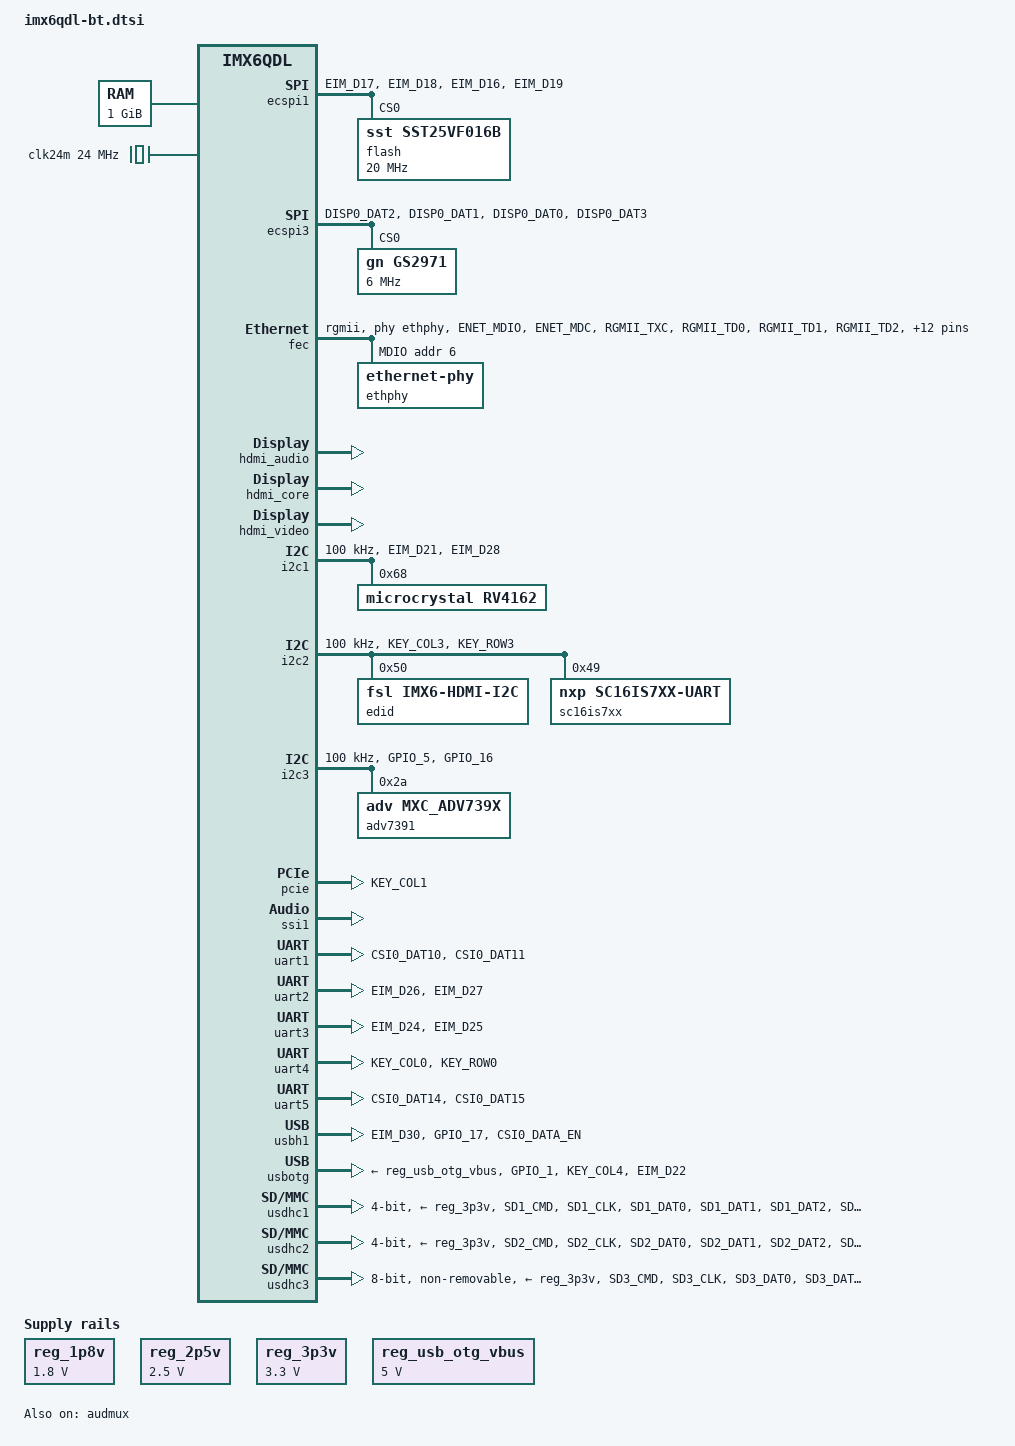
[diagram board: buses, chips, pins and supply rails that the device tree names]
/*
 * Copyright 2014 Boundary Devices
 * Copyright 2012 Freescale Semiconductor, Inc.
 * Copyright 2011 Linaro Ltd.
 *
 * The code contained herein is licensed under the GNU General Public
 * License. You may obtain a copy of the GNU General Public License
 * Version 2 or later at the following locations:
 *
 * http://www.opensource.org/licenses/gpl-license.html
 * http://www.gnu.org/copyleft/gpl.html
 */
#include <dt-bindings/gpio/gpio.h>
#include <dt-bindings/input/input.h>

&iomuxc {
	pinctrl-names = "default";
	pinctrl-0 = <&pinctrl_hog>;

	iomuxc_imx6q_bt: iomuxc-imx6q-btgrp {
		status = "okay";
	};
};

&iomuxc_imx6q_bt {
	pinctrl_hog: hoggrp {
		fsl,pins = <
#define GP_BT_GPIO1	<&gpio2 15 GPIO_ACTIVE_LOW>
			MX6QDL_PAD_SD4_DAT7__GPIO2_IO15		0x1b0b0		/* BGPIO1 */
#define GP_BT_GPIO2	<&gpio2 14 GPIO_ACTIVE_LOW>
			MX6QDL_PAD_SD4_DAT6__GPIO2_IO14		0x1b0b0		/* BGPIO2 */
#define GP_BT_GPIO3	<&gpio2 13 GPIO_ACTIVE_LOW>
			MX6QDL_PAD_SD4_DAT5__GPIO2_IO13		0x1b0b0		/* BGPIO3 */
#define GP_BT_GPIO4	<&gpio2 12 GPIO_ACTIVE_LOW>
			MX6QDL_PAD_SD4_DAT4__GPIO2_IO12		0x1b0b0		/* BGPIO4 */
#define GP_BT_GPIO5	<&gpio2 11 GPIO_ACTIVE_LOW>
			MX6QDL_PAD_SD4_DAT3__GPIO2_IO11		0x1b0b0		/* BGPIO5 */
#define GP_BT_GPIO6	<&gpio2 10 GPIO_ACTIVE_LOW>
			MX6QDL_PAD_SD4_DAT2__GPIO2_IO10		0x1b0b0		/* BGPIO6 */
#define GP_BT_GPIO7	<&gpio2 9 GPIO_ACTIVE_LOW>
			MX6QDL_PAD_SD4_DAT1__GPIO2_IO09		0x1b0b0		/* BGPIO7 */
#define GP_BT_GPIO8	<&gpio2 8 GPIO_ACTIVE_LOW>
			MX6QDL_PAD_SD4_DAT0__GPIO2_IO08		0x1b0b0		/* BGPIO8 */
#define GP_BT_GPIO9	<&gpio7 9 GPIO_ACTIVE_LOW>
			MX6QDL_PAD_SD4_CMD__GPIO7_IO09		0x1b0b0		/* BGPIO9 */
#define GP_BT_GPIO10	<&gpio7 10 GPIO_ACTIVE_LOW>
			MX6QDL_PAD_SD4_CLK__GPIO7_IO10		0x1b0b0		/* BGPIO10 */
#define GP_BT_GPIO11	<&gpio2 7 GPIO_ACTIVE_LOW>
			MX6QDL_PAD_NANDF_D7__GPIO2_IO07         0x1b0b0		/* BGPIO11 */
#define GP_BT_GPIO12	<&gpio2 6 GPIO_ACTIVE_LOW>
			MX6QDL_PAD_NANDF_D6__GPIO2_IO06         0x1b0b0		/* BGPIO12 */
#define GP_BT_GPIO13	<&gpio2 5 GPIO_ACTIVE_LOW>
			MX6QDL_PAD_NANDF_D5__GPIO2_IO05         0x1b0b0		/* BGPIO13 */
#define GP_BT_GPIO14	<&gpio2 4 GPIO_ACTIVE_LOW>
			MX6QDL_PAD_NANDF_D4__GPIO2_IO04         0x1b0b0		/* BGPIO14 */
#define GP_BT_GPIO15	<&gpio2 3 GPIO_ACTIVE_LOW>
			MX6QDL_PAD_NANDF_D3__GPIO2_IO03         0x1b0b0		/* BGPIO15 */
#define GP_BT_GPIO16	<&gpio2 2 GPIO_ACTIVE_LOW>
			MX6QDL_PAD_NANDF_D2__GPIO2_IO02         0x1b0b0		/* BGPIO16 */
#define GP_BT_GPIO17	<&gpio2 1 GPIO_ACTIVE_LOW>
			MX6QDL_PAD_NANDF_D1__GPIO2_IO01         0x1b0b0		/* BGPIO17 */
#define GP_BT_GPIO18	<&gpio2 0 GPIO_ACTIVE_LOW>
			MX6QDL_PAD_NANDF_D0__GPIO2_IO00         0x1b0b0		/* BGPIO18 */
#define GP_BT_GPIO19	<&gpio6 10 GPIO_ACTIVE_LOW>
			MX6QDL_PAD_NANDF_RB0__GPIO6_IO10	0x1b0b0		/* BGPIO19 */
#define GP_BT_GPIO20	<&gpio6 9 GPIO_ACTIVE_LOW>
			MX6QDL_PAD_NANDF_WP_B__GPIO6_IO09	0x1b0b0		/* BGPIO20 */
#define GP_BT_GPIO21	<&gpio6 7 GPIO_ACTIVE_LOW>
			MX6QDL_PAD_NANDF_CLE__GPIO6_IO07	0x1b0b0		/* BGPIO21 */
#define GP_BT_GPIO22	<&gpio6 8 GPIO_ACTIVE_LOW>
			MX6QDL_PAD_NANDF_ALE__GPIO6_IO08	0x1b0b0		/* BGPIO22 */
#define GP_BT_GPIO23	<&gpio6 16 GPIO_ACTIVE_LOW>
			MX6QDL_PAD_NANDF_CS3__GPIO6_IO16	0x1b0b0		/* BGPIO23 */
#define GP_BT_GPIO24	<&gpio6 15 GPIO_ACTIVE_LOW>
			MX6QDL_PAD_NANDF_CS2__GPIO6_IO15	0x1b0b0		/* BGPIO24 */
#define GP_BT_GPIO25	<&gpio6 14 GPIO_ACTIVE_LOW>
			MX6QDL_PAD_NANDF_CS1__GPIO6_IO14	0x1b0b0		/* BGPIO25 */
#define GP_BT_GPIO26	<&gpio6 11 GPIO_ACTIVE_LOW>
			MX6QDL_PAD_NANDF_CS0__GPIO6_IO11	0x1b0b0		/* BGPIO26 */
#define GP_BT_GPIO27	<&gpio5 30 GPIO_ACTIVE_LOW>
			MX6QDL_PAD_CSI0_DAT12__GPIO5_IO30	0x1b0b0		/* BGPIO27 */
#define GP_BT_GPIO28	<&gpio5 31 GPIO_ACTIVE_LOW>
			MX6QDL_PAD_CSI0_DAT13__GPIO5_IO31	0x1b0b0		/* BGPIO28 */
#define GP_BT_GPIO29	<&gpio5 24 GPIO_ACTIVE_LOW>
			MX6QDL_PAD_CSI0_DAT6__GPIO5_IO24	0x1b0b0		/* BGPIO29 */
#define GP_BT_GPIO30	<&gpio5 25 GPIO_ACTIVE_LOW>
			MX6QDL_PAD_CSI0_DAT7__GPIO5_IO25	0x1b0b0		/* BGPIO30 */
#define GP_BT_GPIO31	<&gpio6 2 GPIO_ACTIVE_LOW>
			MX6QDL_PAD_CSI0_DAT16__GPIO6_IO02	0x1b0b0		/* BGPIO31 */
#define GP_BT_GPIO32	<&gpio6 3 GPIO_ACTIVE_LOW>
			MX6QDL_PAD_CSI0_DAT17__GPIO6_IO03	0x1b0b0		/* BGPIO32 */
#define GP_BT_GPIO33	<&gpio6 4 GPIO_ACTIVE_LOW>
			MX6QDL_PAD_CSI0_DAT18__GPIO6_IO04	0x1b0b0		/* BGPIO33 */
#define GP_BT_GPIO34	<&gpio6 5 GPIO_ACTIVE_LOW>
			MX6QDL_PAD_CSI0_DAT19__GPIO6_IO05	0x1b0b0		/* BGPIO34 */
#define GP_BT_GPIO35	<&gpio5 2 GPIO_ACTIVE_LOW>
			MX6QDL_PAD_EIM_A25__GPIO5_IO02		0x1b0b0		/* BGPIO35 */
#define GP_BT_GPIO36	<&gpio3 29 GPIO_ACTIVE_LOW>
			MX6QDL_PAD_EIM_D29__GPIO3_IO29		0x1b0b0		/* BGPIO36 */
#define GP_BT_GPIO37	<&gpio2 30 GPIO_ACTIVE_LOW>
			MX6QDL_PAD_EIM_EB2__GPIO2_IO30		0x1b0b0		/* BGPIO37 */
#define GP_BT_GPIO38	<&gpio2 31 GPIO_ACTIVE_LOW>
			MX6QDL_PAD_EIM_EB3__GPIO2_IO31		0x1b0b0		/* BGPIO38 */
#define GP_BT_GPIO39	<&gpio5 26 GPIO_ACTIVE_LOW>
			MX6QDL_PAD_CSI0_DAT8__GPIO5_IO26	0x1b0b0		/* BGPIO39 */
#define GP_BT_GPIO40	<&gpio5 27 GPIO_ACTIVE_LOW>
			MX6QDL_PAD_CSI0_DAT9__GPIO5_IO27	0x1b0b0		/* BGPIO40 */

#define GP_PWR_J1	<&gpio5 9 GPIO_ACTIVE_LOW>
			MX6QDL_PAD_DISP0_DAT15__GPIO5_IO09	0x4000b0b0	/* J1 Power enable */
#define GP_PWR_J2	<&gpio4 25 GPIO_ACTIVE_LOW>
			MX6QDL_PAD_DISP0_DAT4__GPIO4_IO25	0x4000b0b0	/* J2 */
#define GP_PWR_J3	<&gpio2 23 GPIO_ACTIVE_LOW>
			MX6QDL_PAD_EIM_CS0__GPIO2_IO23		0x4000b0b0	/* J3 */
#define GP_PWR_J4	<&gpio2 25 GPIO_ACTIVE_LOW>
			MX6QDL_PAD_EIM_OE__GPIO2_IO25		0x4000b0b0	/* J4 */
#define GP_PWR_J6	<&gpio2 26 GPIO_ACTIVE_LOW>
			MX6QDL_PAD_EIM_RW__GPIO2_IO26		0x4000b0b0	/* J6 */
#define GP_PWR_J7	<&gpio2 27 GPIO_ACTIVE_LOW>
			MX6QDL_PAD_EIM_LBA__GPIO2_IO27		0x4000b0b0	/* J7 */

			/* J92 pins */
#define GP_J92_PIN7	<&gpio3 31 GPIO_ACTIVE_LOW>
			MX6QDL_PAD_EIM_D31__GPIO3_IO31		0x0b0b0		/* OUT_1 - Dry contact to J92 pin 7 */
#define GP_J92_PIN9	<&gpio1 8 GPIO_ACTIVE_LOW>
			MX6QDL_PAD_GPIO_8__GPIO1_IO08		0x030b0		/* OUT_2 - Dry contact to J92 pin 9 */
#define GP_J92_PIN10	<&gpio5 22 GPIO_ACTIVE_LOW>
			MX6QDL_PAD_CSI0_DAT4__GPIO5_IO22	0x0b0b0		/* GPI_1 - J92 - pin 10 */
#define GP_J92_PIN12	<&gpio5 23 GPIO_ACTIVE_LOW>
			MX6QDL_PAD_CSI0_DAT5__GPIO5_IO23	0x0b0b0		/* GPI_2 - J92 - pin 12 */
		>;
	};

	pinctrl_adv7391: adv7391grp-1 {
		fsl,pins = <
			MX6QDL_PAD_DI0_DISP_CLK__IPU1_DI0_DISP_CLK 0x10		/* Pixclk */
			MX6QDL_PAD_DISP0_DAT16__IPU1_DISP0_DATA16  0x10
			MX6QDL_PAD_DISP0_DAT17__IPU1_DISP0_DATA17  0x10
			MX6QDL_PAD_DISP0_DAT18__IPU1_DISP0_DATA18  0x10
			MX6QDL_PAD_DISP0_DAT19__IPU1_DISP0_DATA19  0x10
			MX6QDL_PAD_DISP0_DAT20__IPU1_DISP0_DATA20  0x10
			MX6QDL_PAD_DISP0_DAT21__IPU1_DISP0_DATA21  0x10
			MX6QDL_PAD_DISP0_DAT22__IPU1_DISP0_DATA22  0x10
			MX6QDL_PAD_DISP0_DAT23__IPU1_DISP0_DATA23  0x10
		>;
	};

	pinctrl_adv7391_off: adv7391grp-2 {
		fsl,pins = <
			MX6QDL_PAD_DI0_DISP_CLK__GPIO4_IO16	0x0b0b0		/* Pixclk */
			MX6QDL_PAD_DI0_PIN2__GPIO4_IO18		0x0b0b0		/* HSYNC */
			MX6QDL_PAD_DI0_PIN3__GPIO4_IO19		0x0b0b0		/* VSYNC */
			MX6QDL_PAD_DISP0_DAT16__GPIO5_IO10	0x0b0b0
			MX6QDL_PAD_DISP0_DAT17__GPIO5_IO11	0x0b0b0
			MX6QDL_PAD_DISP0_DAT18__GPIO5_IO12	0x0b0b0
			MX6QDL_PAD_DISP0_DAT19__GPIO5_IO13	0x0b0b0
			MX6QDL_PAD_DISP0_DAT20__GPIO5_IO14	0x0b0b0
			MX6QDL_PAD_DISP0_DAT21__GPIO5_IO15	0x0b0b0
			MX6QDL_PAD_DISP0_DAT22__GPIO5_IO16	0x0b0b0
			MX6QDL_PAD_DISP0_DAT23__GPIO5_IO17	0x0b0b0
#define GP_ADV7391_RESET	<&gpio4 20 GPIO_ACTIVE_LOW>
			MX6QDL_PAD_DI0_PIN4__GPIO4_IO20		0x000b0		/* reset */
		>;
	};
	pinctrl_audmux: audmuxgrp {
		fsl,pins = <
			/* Audio - GS2971 */
			MX6QDL_PAD_KEY_ROW1__AUD5_RXD		0x1b070
			MX6QDL_PAD_DISP0_DAT14__AUD5_RXC	0x1b070
			MX6QDL_PAD_DISP0_DAT13__AUD5_RXFS	0x1b070
		>;
	};

	pinctrl_ecspi1: ecspi1grp {
		fsl,pins = <
			MX6QDL_PAD_EIM_D17__ECSPI1_MISO		0x100b1
			MX6QDL_PAD_EIM_D18__ECSPI1_MOSI		0x100b1
			MX6QDL_PAD_EIM_D16__ECSPI1_SCLK		0x100b1
#define GP_ECSPI1_NOR_CS	<&gpio3 19 GPIO_ACTIVE_LOW>
			MX6QDL_PAD_EIM_D19__GPIO3_IO19		0x0b0b0
		>;
	};

	pinctrl_ecspi3: ecspi3grp {
		fsl,pins = <
			MX6QDL_PAD_DISP0_DAT2__ECSPI3_MISO	0x100b1
			MX6QDL_PAD_DISP0_DAT1__ECSPI3_MOSI	0x100b1
			MX6QDL_PAD_DISP0_DAT0__ECSPI3_SCLK	0x100b1
#define GP_ECSPI3_GS2971_CS	<&gpio4 24 GPIO_ACTIVE_LOW>
			MX6QDL_PAD_DISP0_DAT3__GPIO4_IO24	0x0b0b0		/* GS2971 */
		>;
	};

	pinctrl_enet: enetgrp {
		fsl,pins = <
			MX6QDL_PAD_ENET_MDIO__ENET_MDIO		0x1b0b0
			MX6QDL_PAD_ENET_MDC__ENET_MDC		0x1b0b0
			MX6QDL_PAD_RGMII_TXC__RGMII_TXC		0x100b0
			MX6QDL_PAD_RGMII_TD0__RGMII_TD0		0x100b0
			MX6QDL_PAD_RGMII_TD1__RGMII_TD1		0x100b0
			MX6QDL_PAD_RGMII_TD2__RGMII_TD2		0x100b0
			MX6QDL_PAD_RGMII_TD3__RGMII_TD3		0x100b0
			MX6QDL_PAD_RGMII_TX_CTL__RGMII_TX_CTL	0x100b0
			MX6QDL_PAD_ENET_REF_CLK__ENET_TX_CLK	0x100b0
			MX6QDL_PAD_RGMII_RXC__RGMII_RXC		0x1b0b0
			MX6QDL_PAD_RGMII_RD0__RGMII_RD0		0x1b0b0
			MX6QDL_PAD_RGMII_RD1__RGMII_RD1		0x1b0b0
			MX6QDL_PAD_RGMII_RD2__RGMII_RD2		0x1b0b0
			MX6QDL_PAD_RGMII_RD3__RGMII_RD3		0x1b0b0
			MX6QDL_PAD_RGMII_RX_CTL__RGMII_RX_CTL	0x1b0b0
#define GP_ENET_PHY_RESET	<&gpio1 27 GPIO_ACTIVE_LOW>
			MX6QDL_PAD_ENET_RXD0__GPIO1_IO27	0x030b0
#define GPIRQ_ENET_PHY	<&gpio1 28 IRQ_TYPE_LEVEL_LOW>
			MX6QDL_PAD_ENET_TX_EN__GPIO1_IO28	0x1b0b0
#define GPIRQ_ENET		<&gpio1 6 IRQ_TYPE_LEVEL_HIGH>
			MX6QDL_PAD_GPIO_6__ENET_IRQ		0x000b1
		>;
	};

	pinctrl_gs2971: gs2971grp {
		/* parallel camera on CSI1, pins differ for iMX6Q/iMX6DL */
	};

	pinctrl_gs2971_cea861: gs2971_cea861grp {
		/* parallel camera on CSI1, pins differ for iMX6Q/iMX6DL */
	};

	pinctrl_gs2971_no_cea861: gs2971_no_cea861grp { /* parallel camera */
		/* sav/eav codes are used, not hsync/vsync */
		fsl,pins = <
			MX6QDL_PAD_EIM_DA11__GPIO3_IO11		0xb0b0	/* HSYNC */
			MX6QDL_PAD_EIM_DA12__GPIO3_IO12		0xb0b0	/* VSYNC */
		>;
	};

	pinctrl_gs2971_gpios: gs2971_gpiosgrp {
		fsl,pins = <
#define GPIO_INPUT 2
#define GP_GS2971_STANDBY	<&gpio5 0 GPIO_ACTIVE_HIGH>
			MX6QDL_PAD_EIM_WAIT__GPIO5_IO00		0x000b0		/* 1 - pin K2 - Standby */
#define GP_GS2971_RESET		<&gpio3 13 GPIO_ACTIVE_LOW>
			MX6QDL_PAD_EIM_DA13__GPIO3_IO13		0x000b0		/* 0 - pin C7 - reset */
#define GP_GS2971_RC_BYPASS	<&gpio4 27 GPIO_ACTIVE_HIGH>
			MX6QDL_PAD_DISP0_DAT6__GPIO4_IO27	0x000b0		/* 0 - pin G3 - RC bypass - output is buffered(low) */
#define GP_GS2971_IOPROC_EN	<&gpio4 28 GPIO_ACTIVE_HIGH>
			MX6QDL_PAD_DISP0_DAT7__GPIO4_IO28	0x000b0		/* 0 - pin H8 - io(A/V) processor enable */
#define GP_GS2971_AUDIO_EN	<&gpio4 29 GPIO_ACTIVE_HIGH>
			MX6QDL_PAD_DISP0_DAT8__GPIO4_IO29	0x000b0		/* 0 - pin H3 - Audio Enable */
#define GP_GS2971_TIM_861	<&gpio4 30 GPIO_ACTIVE_HIGH>
			MX6QDL_PAD_DISP0_DAT9__GPIO4_IO30	0x000b0		/* 0 - pin H5 - TIM861 timing format, 1-use HSYNC/VSYNC */
#define GP_GS2971_SW_EN		<&gpio4 31 GPIO_ACTIVE_HIGH>
			MX6QDL_PAD_DISP0_DAT10__GPIO4_IO31	0x000b0		/* 0 - pin D7 - SW_EN - line lock enable */
#define GP_GS2971_DVB_ASI	<&gpio5 5 GPIO_INPUT>
			MX6QDL_PAD_DISP0_DAT11__GPIO5_IO05	0x1b0b0		/* pin G8 i/o DVB_ASI */
#define GP_GS2971_SMPTE_BYPASS	<&gpio2 24 GPIO_INPUT>
			MX6QDL_PAD_EIM_CS1__GPIO2_IO24		0x1b0b0		/* pin G7 - i/o SMPTE bypass */
#define GP_GS2971_DVI_LOCK	<&gpio3 14 GPIO_INPUT>
			MX6QDL_PAD_EIM_DA14__GPIO3_IO14		0x1b0b0		/* pin B6 - stat3 - DVI_LOCK */
#define GP_GS2971_DATA_ERR	<&gpio3 15 GPIO_INPUT>
			MX6QDL_PAD_EIM_DA15__GPIO3_IO15		0x1b0b0		/* pin C6 - stat5 - DATA error */
#define GP_GS2971_LB_CONT	<&gpio3 20 GPIO_INPUT>
			MX6QDL_PAD_EIM_D20__GPIO3_IO20		0x1b0b0		/* pin A3 - LB control - float, analog input */
#define GP_GS2971_Y_1ANC	<&gpio4 26 GPIO_INPUT>
			MX6QDL_PAD_DISP0_DAT5__GPIO4_IO26	0x1b0b0		/* pin C5 - stat4 - 1ANC - Y signal detect */
		>;
	};

	pinctrl_i2c1: i2c1grp {
		fsl,pins = <
			MX6QDL_PAD_EIM_D21__I2C1_SCL	0x4001b8b1
			MX6QDL_PAD_EIM_D28__I2C1_SDA	0x4001b8b1
		>;
	};

	pinctrl_i2c1_1: i2c1_1grp {
		fsl,pins = <
#define GP_I2C1_SCL	<&gpio3 21 GPIO_ACTIVE_HIGH>
			MX6QDL_PAD_EIM_D21__GPIO3_IO21	0x4001b8b1
#define GP_I2C1_SDA	<&gpio3 28 GPIO_ACTIVE_HIGH>
			MX6QDL_PAD_EIM_D28__GPIO3_IO28	0x4001b8b1
		>;
	};

	pinctrl_i2c2: i2c2grp {
		fsl,pins = <
			MX6QDL_PAD_KEY_COL3__I2C2_SCL	0x4001b8b1
			MX6QDL_PAD_KEY_ROW3__I2C2_SDA	0x4001b8b1
		>;
	};

	pinctrl_i2c2_1: i2c2_1grp {
		fsl,pins = <
#define GP_I2C2_SCL	<&gpio4 12 GPIO_ACTIVE_HIGH>
			MX6QDL_PAD_KEY_COL3__GPIO4_IO12	0x4001b8b1
#define GP_I2C2_SDA	<&gpio4 13 GPIO_ACTIVE_HIGH>
			MX6QDL_PAD_KEY_ROW3__GPIO4_IO13	0x4001b8b1
		>;
	};

	pinctrl_i2c3: i2c3grp {
		fsl,pins = <
			MX6QDL_PAD_GPIO_5__I2C3_SCL	0x4001b8b1
			MX6QDL_PAD_GPIO_16__I2C3_SDA	0x4001b8b1
		>;
	};

	pinctrl_i2c3_1: i2c3_1grp {
		fsl,pins = <
#define GP_I2C3_SCL	<&gpio1 5 GPIO_ACTIVE_HIGH>
			MX6QDL_PAD_GPIO_5__GPIO1_IO05		0x4001b8b1
#define GP_I2C3_SDA	<&gpio7 11 GPIO_ACTIVE_HIGH>
			MX6QDL_PAD_GPIO_16__GPIO7_IO11		0x4001b8b1
		>;
	};

	pinctrl_pcie: pciegrp {
		fsl,pins = <
#define GP_PCIE_RESET	<&gpio4 8 GPIO_ACTIVE_LOW>
			MX6QDL_PAD_KEY_COL1__GPIO4_IO08		0x000b0		/* pcie reset */
		>;
	};

	pinctrl_rv4162: rv4162grp {
		fsl,pins = <
#define GPIRQ_RTC_RV4162	 <&gpio4 11 IRQ_TYPE_LEVEL_LOW>
			MX6QDL_PAD_KEY_ROW2__GPIO4_IO11		0x1b0b0
		>;
	};

	pinctrl_sc16is7xx: sc16is7xxgrp {
		fsl,pins = <
#define GPIRQ_SC16IS752	<&gpio4 10 IRQ_TYPE_LEVEL_LOW>
			MX6QDL_PAD_KEY_COL2__GPIO4_IO10		0x1b0b0
		>;
	};

	pinctrl_uart1: uart1grp { /* UART1 - J2 - PTT connector */
		fsl,pins = <
			MX6QDL_PAD_CSI0_DAT10__UART1_TX_DATA	0x1b0b1
			MX6QDL_PAD_CSI0_DAT11__UART1_RX_DATA	0x1b0b1
		>;
	};

	pinctrl_uart2: uart2grp { /* UART2 - debug console */
		fsl,pins = <
			MX6QDL_PAD_EIM_D26__UART2_TX_DATA	0x1b0b1
			MX6QDL_PAD_EIM_D27__UART2_RX_DATA	0x1b0b1
		>;
	};

	pinctrl_uart3: uart3grp { /* UART3 */
		fsl,pins = <
			MX6QDL_PAD_EIM_D24__UART3_TX_DATA	0x1b0b1
			MX6QDL_PAD_EIM_D25__UART3_RX_DATA	0x1b0b1
		>;
	};

	pinctrl_uart4: uart4grp { /* UART4 */
		fsl,pins = <
			MX6QDL_PAD_KEY_COL0__UART4_TX_DATA	0x1b0b1
			MX6QDL_PAD_KEY_ROW0__UART4_RX_DATA	0x1b0b1
		>;
	};

	pinctrl_uart5: uart5grp { /* UART5 - J6 data connector */
		fsl,pins = <
			MX6QDL_PAD_CSI0_DAT14__UART5_TX_DATA	0x1b0b1
			MX6QDL_PAD_CSI0_DAT15__UART5_RX_DATA	0x1b0b1
		>;
	};


	pinctrl_usbh1: usbh1grp {
		fsl,pins = <
			MX6QDL_PAD_EIM_D30__USB_H1_OC	0x1b0b0
#define GP_USB_HUB_RESET	<&gpio7 12 GPIO_ACTIVE_LOW>
			MX6QDL_PAD_GPIO_17__GPIO7_IO12	0x0b0b0	/* USB Hub Reset for USB2512 4 port hub */
#define GP_AX88772A_RESET	<&gpio5 20 GPIO_ACTIVE_LOW>
			MX6QDL_PAD_CSI0_DATA_EN__GPIO5_IO20	0x0b0b0
		>;
	};

	pinctrl_usbotg: usbotggrp {
		fsl,pins = <
			MX6QDL_PAD_GPIO_1__USB_OTG_ID	0x17059
			MX6QDL_PAD_KEY_COL4__USB_OTG_OC	0x1b0b0
#define GP_USB_OTG_PWR		<&gpio3 22 0>
			MX6QDL_PAD_EIM_D22__GPIO3_IO22		0x0b0b0	/* otg power en */
		>;
	};

	/* full size SD card */
	pinctrl_usdhc1_50mhz: usdhc1grp-1 {
		fsl,pins = <
			MX6QDL_PAD_SD1_CMD__SD1_CMD		0x17059
			MX6QDL_PAD_SD1_CLK__SD1_CLK		0x10059
			MX6QDL_PAD_SD1_DAT0__SD1_DATA0		0x17059
			MX6QDL_PAD_SD1_DAT1__SD1_DATA1		0x17059
			MX6QDL_PAD_SD1_DAT2__SD1_DATA2		0x17059
			MX6QDL_PAD_SD1_DAT3__SD1_DATA3		0x17059
#define GP_USDHC1_CD		<&gpio1 4 GPIO_ACTIVE_LOW>
			MX6QDL_PAD_GPIO_4__GPIO1_IO04		0x1b0b0
#define GP_USDHC1_WP		<&gpio1 2 GPIO_ACTIVE_HIGH>
			MX6QDL_PAD_GPIO_2__GPIO1_IO02		0x1b0b0
#define GP_USDHC1_1P8V_SEL		<&gpio7 13 GPIO_ACTIVE_LOW>		/* low 1.8V, high 3.3V */
			MX6QDL_PAD_GPIO_18__GPIO7_IO13          0x1b0b0
		>;
	};
	pinctrl_usdhc1_100mhz: usdhc1grp-2 {
		fsl,pins = <
			MX6QDL_PAD_SD1_CMD__SD1_CMD		0x170b9
			MX6QDL_PAD_SD1_CLK__SD1_CLK		0x100b9
			MX6QDL_PAD_SD1_DAT0__SD1_DATA0		0x170b9
			MX6QDL_PAD_SD1_DAT1__SD1_DATA1		0x170b9
			MX6QDL_PAD_SD1_DAT2__SD1_DATA2		0x170b9
			MX6QDL_PAD_SD1_DAT3__SD1_DATA3		0x170b9
		>;
	};
	pinctrl_usdhc1_200mhz: usdhc1grp-3 {
		fsl,pins = <
			MX6QDL_PAD_SD1_CMD__SD1_CMD		0x170f9
			MX6QDL_PAD_SD1_CLK__SD1_CLK		0x100f9
			MX6QDL_PAD_SD1_DAT0__SD1_DATA0		0x170f9
			MX6QDL_PAD_SD1_DAT1__SD1_DATA1		0x170f9
			MX6QDL_PAD_SD1_DAT2__SD1_DATA2		0x170f9
			MX6QDL_PAD_SD1_DAT3__SD1_DATA3		0x170f9
		>;
	};

	/* micro SD card */
	pinctrl_usdhc2_50mhz: usdhc2grp-1 {
		fsl,pins = <
			MX6QDL_PAD_SD2_CMD__SD2_CMD		0x17059
			MX6QDL_PAD_SD2_CLK__SD2_CLK		0x10059
			MX6QDL_PAD_SD2_DAT0__SD2_DATA0		0x17059
			MX6QDL_PAD_SD2_DAT1__SD2_DATA1		0x17059
			MX6QDL_PAD_SD2_DAT2__SD2_DATA2		0x17059
			MX6QDL_PAD_SD2_DAT3__SD2_DATA3		0x17059
#define GP_USDHC2_CD		<&gpio3 23 GPIO_ACTIVE_LOW>
			MX6QDL_PAD_EIM_D23__GPIO3_IO23		0x1b0b0
		>;
	};

	/* eMMC */
	pinctrl_usdhc3_50mhz: usdhc3grp-1 {
		fsl,pins = <
			MX6QDL_PAD_SD3_CMD__SD3_CMD		0x17059
			MX6QDL_PAD_SD3_CLK__SD3_CLK		0x10059
			MX6QDL_PAD_SD3_DAT0__SD3_DATA0		0x17059
			MX6QDL_PAD_SD3_DAT1__SD3_DATA1		0x17059
			MX6QDL_PAD_SD3_DAT2__SD3_DATA2		0x17059
			MX6QDL_PAD_SD3_DAT3__SD3_DATA3		0x17059
			MX6QDL_PAD_SD3_DAT4__SD3_DATA4		0x17059
			MX6QDL_PAD_SD3_DAT5__SD3_DATA5		0x17059
			MX6QDL_PAD_SD3_DAT6__SD3_DATA6		0x17059
			MX6QDL_PAD_SD3_DAT7__SD3_DATA7		0x17059
#define GP_EMMC_RESET	<&gpio7 8 GPIO_ACTIVE_LOW>
			MX6QDL_PAD_SD3_RST__GPIO7_IO08		0x0b0b0
		>;
	};

};

/ {
	aliases {
		fb_hdmi = &fb_hdmi;
		fb_lcd = &fb_lcd;
		mxcfb0 = &fb_hdmi;
		mxcfb1 = &fb_lcd;
	};

	memory {
		reg = <0x10000000 0x40000000>;
	};

	clocks {
		clk24m: clk24m {
			compatible = "fixed-clock";
			#clock-cells = <0>;
			clock-frequency = <24000000>;
		};
	};

	regulators {
		compatible = "simple-bus";

		reg_1p8v: 1p8v {
			compatible = "regulator-fixed";
			regulator-name = "1P8V";
			regulator-min-microvolt = <1800000>;
			regulator-max-microvolt = <1800000>;
			regulator-always-on;
		};

		reg_2p5v: 2p5v {
			compatible = "regulator-fixed";
			regulator-name = "2P5V";
			regulator-min-microvolt = <2500000>;
			regulator-max-microvolt = <2500000>;
			regulator-always-on;
		};

		reg_3p3v: 3p3v {
			compatible = "regulator-fixed";
			regulator-name = "3P3V";
			regulator-min-microvolt = <3300000>;
			regulator-max-microvolt = <3300000>;
			regulator-always-on;
		};

		reg_usb_otg_vbus: usb_otg_vbus {
			compatible = "regulator-fixed";
			regulator-name = "usb_otg_vbus";
			regulator-min-microvolt = <5000000>;
			regulator-max-microvolt = <5000000>;
			gpio = GP_USB_OTG_PWR;
			enable-active-high;
		};

	};

	reserved-memory {
		linux,cma {
			size = <0x18000000>;
		};
	};

	sound-hdmi {
		compatible = "fsl,imx6q-audio-hdmi",
			     "fsl,imx-audio-hdmi";
		model = "imx-audio-hdmi";
		hdmi-controller = <&hdmi_audio>;
	};

	fb_hdmi: fb@0 {
		compatible = "fsl,mxc_sdc_fb";
		disp_dev = "hdmi";
		interface_pix_fmt = "RGB24";
		mode_str ="1280x720M@60";
		default_bpp = <16>;
		int_clk = <0>;
		late_init = <0>;
		status = "okay";
	};

	fb_lcd: fb@1 {
		compatible = "fsl,mxc_sdc_fb";
		disp_dev = "adv739x";
		interface_pix_fmt = "BT656";
		mode_str ="BT656-NTSC";
		default_bpp = <16>;
		int_clk = <0>;
		late_init = <0>;
		status = "okay";
	};

	v4l2_cap_0: v4l2_cap_0 {
		/* gs2971 */
		compatible = "fsl,imx6q-v4l2-capture";
		csi_id = <1>;
		device_id = <8>;
		mclk_source = <0>;
		status = "okay";
	};

	v4l2_out {
		compatible = "fsl,mxc_v4l2_output";
		status = "okay";
	};
};


&audmux {
	pinctrl-names = "default";
	pinctrl-0 = <&pinctrl_audmux>;
	status = "okay";
};

&ecspi1 {
	fsl,spi-num-chipselects = <1>;
	cs-gpios = GP_ECSPI1_NOR_CS;
	pinctrl-names = "default";
	pinctrl-0 = <&pinctrl_ecspi1>;
	status = "okay";

	flash: m25p80@0 {
		compatible = "sst,sst25vf016b";
		spi-max-frequency = <20000000>;
		reg = <0>;
		#address-cells = <1>;
		#size-cells = <1>;
		mtd@00000000 {
			label = "U-Boot";
			reg = <0x0 0xC0000>;
		};

		mtd@000C0000 {
			label = "env";
			reg = <0xC0000 0x2000>;
		};
		mtd@000C2000 {
			label = "splash";
			reg = <0xC2000 0x13e000>;
		};
	};
};

&ecspi3 {
	fsl,spi-num-chipselects = <1>;
	cs-gpios = GP_ECSPI3_GS2971_CS;
	pinctrl-names = "default";
	pinctrl-0 = <&pinctrl_ecspi3>;
	status = "okay";

	gs2971: gs2971@0 {
		compatible = "gn,gs2971";
		reg = <0>;
		pinctrl-names = "default", "no_cea861", "cea861";
		pinctrl-0 = <&pinctrl_gs2971>, <&pinctrl_gs2971_gpios>;
		pinctrl-1 = <&pinctrl_gs2971_no_cea861>;
		pinctrl-2 = <&pinctrl_gs2971_cea861>;
		mclk = <27000000>;
		csi = <1>;
		cea861 = <0>;
		spi-max-frequency = <6000000>;
		standby-gpios = GP_GS2971_STANDBY;	/* 1 - powerdown */
		rst-gpios = GP_GS2971_RESET;		/* 0 - reset */
		tim_861-gpios = GP_GS2971_TIM_861;	/* 0 - TIM861 timing format sav/eav codes */
		/* enable on power up */
		ioproc_en-gpios = GP_GS2971_IOPROC_EN;	/* 0 - io(A/V) processor disabled */
		sw_en-gpios = GP_GS2971_SW_EN;		/* 0 - line lock disabled */
		rc_bypass-gpios = GP_GS2971_RC_BYPASS;	/* 0 -  RC bypass - output is buffered(low) */
		audio_en-gpios = GP_GS2971_AUDIO_EN;	/* 0 - audio disabled */
		dvb_asi-gpios = GP_GS2971_DVB_ASI;	/* 0 - dvs_asi disabled */
		smpte_bypass-gpios = GP_GS2971_SMPTE_BYPASS;	/* in */
		dvi_lock-gpios = GP_GS2971_DVI_LOCK;	/* in */
		data_err-gpios = GP_GS2971_DATA_ERR;	/* in */
		lb_cont-gpios = GP_GS2971_LB_CONT;	/* in */
		y_1anc-gpios = GP_GS2971_Y_1ANC;	/* in */
	};
};

&fec {
	interrupts-extended = GPIRQ_ENET,
			      <&gpc 0 119 IRQ_TYPE_LEVEL_HIGH>;
	phy-handle = <&ethphy>;
	phy-mode = "rgmii";
#if 0
	phy-reset-gpios = GP_ENET_PHY_RESET;
#endif
	pinctrl-names = "default";
	pinctrl-0 = <&pinctrl_enet>;
	status = "okay";

	mdio {
		#address-cells = <0>;
		#size-cells = <1>;

		ethphy: ethernet-phy@6 {
			reg = <6>;
			interrupts-extended = GPIRQ_ENET_PHY;
		};
	};
};

&hdmi_audio {
	status = "okay";
};

&hdmi_core {
	ipu_id = <1>;
	disp_id = <0>;
	status = "okay";
};

&hdmi_video {
	fsl,phy_reg_vlev = <0x0294>;
	fsl,phy_reg_cksymtx = <0x800d>;
	status = "okay";
};

&i2c1 {
	clock-frequency = <100000>;
	pinctrl-names = "default", "gpio";
	pinctrl-0 = <&pinctrl_i2c1>;
	pinctrl-1 = <&pinctrl_i2c1_1>;
	scl-gpios = GP_I2C1_SCL;
	sda-gpios = GP_I2C1_SDA;
	status = "okay";

	rv4162@68 {
		compatible = "microcrystal,rv4162";
		pinctrl-names = "default";
		pinctrl-0 = <&pinctrl_rv4162>;
		reg = <0x68>;
		interrupts-extended = GPIRQ_RTC_RV4162;
	};
};

&i2c2 {
	clock-frequency = <100000>;
	pinctrl-names = "default", "gpio";
	pinctrl-0 = <&pinctrl_i2c2>;
	pinctrl-1 = <&pinctrl_i2c2_1>;
	scl-gpios = GP_I2C2_SCL;
	sda-gpios = GP_I2C2_SDA;
	status = "okay";

	edid@50 {
		compatible = "fsl,imx6-hdmi-i2c";
		reg = <0x50>;
	};
	
	sc16is7xx@49 {
		compatible = "nxp,sc16is7xx-uart";
		pinctrl-names = "default";
		pinctrl-0 = <&pinctrl_sc16is7xx>;
		reg = <0x49>;
		interrupts-extended = GPIRQ_SC16IS752;
	};
};

&i2c3 {
	clock-frequency = <100000>;
	pinctrl-names = "default", "gpio";
	pinctrl-0 = <&pinctrl_i2c3>;
	pinctrl-1 = <&pinctrl_i2c3_1>;
	scl-gpios = GP_I2C3_SCL;
	sda-gpios = GP_I2C3_SDA;
	status = "okay";

	adv7391: adv7391@2a {
		compatible = "adv,mxc_adv739x";
		reg = <0x2a>;
		pinctrl-names = "default", "enable";
		pinctrl-0 = <&pinctrl_adv7391_off>;
		pinctrl-1 = <&pinctrl_adv7391>;
		rst-gpios = GP_ADV7391_RESET;
		ipu_id = <0>;
		disp_id = <0>;
        };
};

&pcie {
	pinctrl-names = "default";
	pinctrl-0 = <&pinctrl_pcie>;
	reset-gpios = GP_PCIE_RESET;
	status = "okay";
};

&ssi1 {
	fsl,mode = "i2s-slave";
	status = "okay";
};

&uart1 {
	pinctrl-names = "default";
	pinctrl-0 = <&pinctrl_uart1>;
	status = "okay";
};

&uart2 {
	pinctrl-names = "default";
	pinctrl-0 = <&pinctrl_uart2>;
	status = "okay";
};

&uart3 {
	pinctrl-names = "default";
	pinctrl-0 = <&pinctrl_uart3>;
	status = "okay";
};

&uart4 {
	pinctrl-names = "default";
	pinctrl-0 = <&pinctrl_uart4>;
	status = "okay";
};

&uart5 {
	pinctrl-names = "default";
	pinctrl-0 = <&pinctrl_uart5>;
	status = "okay";
};

&usbh1 {
	pinctrl-names = "default";
	pinctrl-0 = <&pinctrl_usbh1>;
	reset-gpios = GP_USB_HUB_RESET, GP_AX88772A_RESET;
	status = "okay";
};

&usbotg {
	vbus-supply = <&reg_usb_otg_vbus>;
	pinctrl-names = "default";
	pinctrl-0 = <&pinctrl_usbotg>;
	disable-over-current;
	status = "okay";
};

&usdhc1 {
	pinctrl-names = "default";
	pinctrl-0 = <&pinctrl_usdhc1_50mhz>;
	bus-width = <4>;
	cd-gpios = GP_USDHC1_CD;
	wp-gpios = GP_USDHC1_WP;
	power-sel-gpios = GP_USDHC1_1P8V_SEL;
	vmmc-supply = <&reg_3p3v>;
	status = "okay";
};

&usdhc2 {
	pinctrl-names = "default";
	pinctrl-0 = <&pinctrl_usdhc2_50mhz>;
	bus-width = <4>;
	cd-gpios = GP_USDHC2_CD;
	vmmc-supply = <&reg_3p3v>;
	status = "okay";
};

&usdhc3 {
	pinctrl-names = "default";
	pinctrl-0 = <&pinctrl_usdhc3_50mhz>;
	bus-width = <8>;
	non-removable;
	vmmc-supply = <&reg_3p3v>;
	keep-power-in-suspend;
	reset-gpios = GP_EMMC_RESET;
	status = "okay";
};
